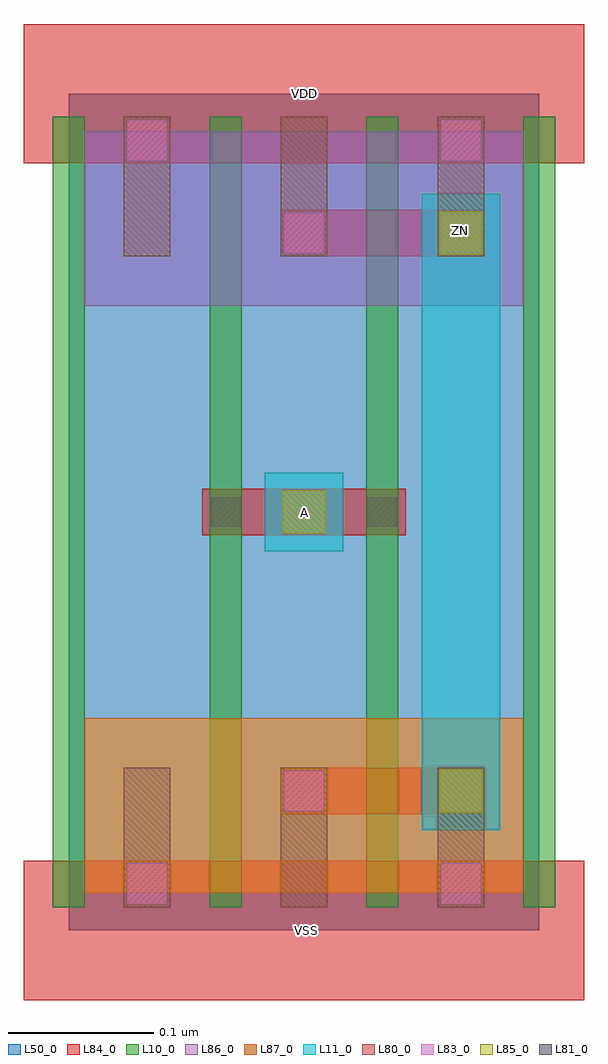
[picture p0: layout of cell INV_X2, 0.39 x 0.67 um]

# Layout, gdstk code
import gdstk
lib = gdstk.Library(unit=1e-6, precision=1e-09)
def R(c, l, rs):  # rectangles x0, y0, x1, y1
    for r in rs: c.add(gdstk.rectangle(r[:2], r[2:], *l))
def A(c, l, x, y, w, h, nx, ny, dx, dy):  # array of equal rectangles
    R(c, l, [(x+i*dx, y+j*dy, x+i*dx+w, y+j*dy+h) for i in range(nx) for j in range(ny)])
L10_0 = (10, 0)
L11_0 = (11, 0)
L50_0 = (50, 0)
L80_0 = (80, 0)
L81_0 = (81, 0)
L83_0 = (83, 0)
L84_0 = (84, 0)
L85_0 = (85, 0)
L86_0 = (86, 0)
L87_0 = (87, 0)

inv_x2 = lib.new_cell('INV_X2')
R(inv_x2, L10_0, [(-0.011,0.016,0.011,0.56), (0.097,0.016,0.119,0.56), (0.097,0.016,0.119,0.56), (0.205,0.016,0.227,0.56), (0.205,0.016,0.227,0.56), (0.313,0.016,0.335,0.56)])
R(inv_x2, L11_0, [(0.243,0.069,0.297,0.507), (0.135,0.261,0.189,0.315)])
R(inv_x2, L50_0, [(0,0,0.324,0.576)])
A(inv_x2, L80_0, 0.038, 0.016, 0.032, 0.096, 3, 2, 0.108, 0.448)
R(inv_x2, L81_0, [(0.098,0.278,0.118,0.298), (0.206,0.278,0.226,0.298)])
R(inv_x2, L83_0, [(0.04,0.018,0.068,0.046), (0.256,0.018,0.284,0.046), (0.148,0.082,0.176,0.11), (0.148,0.466,0.176,0.494), (0.04,0.53,0.068,0.558), (0.256,0.53,0.284,0.558)])
R(inv_x2, L84_0, [(-0.031,-0.048,0.247,0.048), (0.077,-0.048,0.355,0.048), (0.146,0.08,0.286,0.112), (0.254,0.08,0.286,0.112), (0.092,0.272,0.178,0.304), (0.146,0.272,0.232,0.304), (0.146,0.464,0.286,0.496), (0.254,0.464,0.286,0.496), (-0.031,0.528,0.247,0.624), (0.077,0.528,0.355,0.624)])
R(inv_x2, L85_0, [(0.255,0.081,0.285,0.111), (0.147,0.273,0.177,0.303), (0.255,0.465,0.285,0.495)])
R(inv_x2, L86_0, [(0.011,0.43,0.205,0.55), (0.119,0.43,0.313,0.55)])
R(inv_x2, L87_0, [(0.011,0.026,0.205,0.146), (0.119,0.026,0.313,0.146)])
inv_x2.add(gdstk.Label('VSS', (0.164,0), layer=88, texttype=0))
inv_x2.add(gdstk.Label('VDD', (0.162,0.576), layer=88, texttype=0))
inv_x2.add(gdstk.Label('ZN', (0.27,0.482), layer=31, texttype=0))
inv_x2.add(gdstk.Label('A', (0.162,0.288), layer=31, texttype=0))

lib.write_gds('INV_X2.gds')
